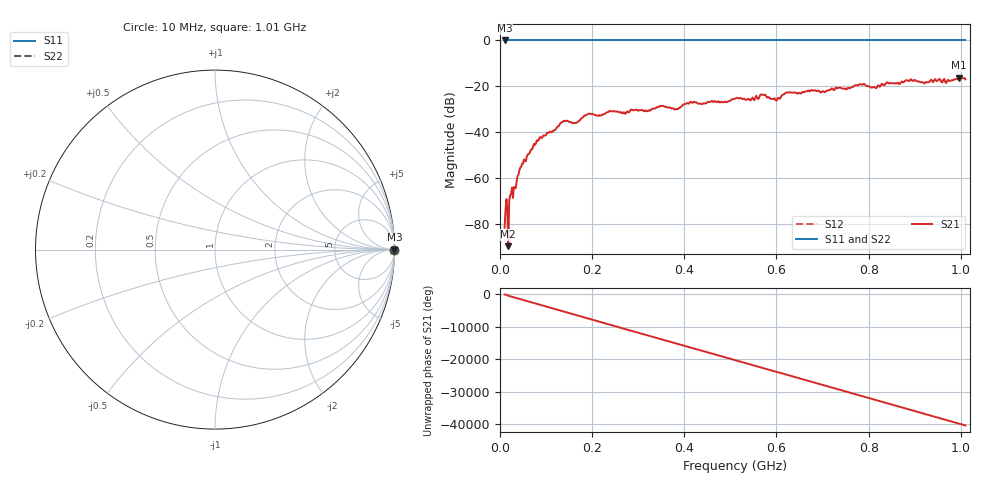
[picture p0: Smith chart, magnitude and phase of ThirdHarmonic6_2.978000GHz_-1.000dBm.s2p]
! 8/17/2025 8:27:10 AM
! C:\ANRITSUVNA\TEMP\TEMP.S2P
! CHANNEL.1
! TR.MEASUREMENT
! RAW.DATA
! RF.CORRECTION.OFF
! AVERAGING.OFF
! IF.BANDWIDTH: 5KHZ
! SWEEPTYPE:  FREQ.SWEEP(Linear)
! Reference Plane Port Info
! PORT:  PORT1  PORT2
! DISTANCE:  0  m  0  m
! TIME:  0  s  0  s
! PHASE.OFFSET:  0  deg.  0  deg.
! LOSS:  0  dB  0  dB
! REF.LOSS:  0  dB  0  dB
! REF.FREQ:  0  Hz  0  Hz
! Power Info
! POWER:  -20  dBm  -20  dBm
! EFF.POWER:  -20  dBm  -20  dBm
! SOURCE.ATTEN:  0  dB  0  dB
! TEST.ATTEN:  0  dB  0  dB
# GHZ S RI R 50.0
! FREQ.GHZ  S11RE  S11IM  S21RE  S21IM  S12RE  S12IM  S22RE  S22IM
!; PortSelection: Port_12
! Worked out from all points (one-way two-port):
!   501 points, 10 MHz to 1.01 GHz, reference 50 ohm
!   highest |S21| = -16.23 dB at 996 MHz (marker M1); lowest = -89.7 dB at 18 MHz (marker M2)
!   lowest |S11| = 0.0 dB at 10 MHz (marker M3)
!   |S11| at or under -10 dB: nowhere
!   |S22| runs from 0.0 to 0.0 dB; largest |S21 - S12| = 1.1
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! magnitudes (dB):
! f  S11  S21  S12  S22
! 10 MHz  0.0  -81.7  0.0  0.0
! 18 MHz  0.0  -89.7  0.0  0.0
! 48 MHz  0.0  -53.7  0.0  0.0
! 84 MHz  0.0  -43.5  0.0  0.0
! 136 MHz  0.0  -35.6  0.0  0.0
! 162 MHz  0.0  -36.1  0.0  0.0
! 178 MHz  0.0  -33.8  0.0  0.0
! 192 MHz  0.0  -32.1  0.0  0.0
! 344 MHz  0.0  -29.1  0.0  0.0
! 382 MHz  0.0  -30.0  0.0  0.0
! 416 MHz  0.0  -27.1  0.0  0.0
! 510 MHz  0.0  -25.4  0.0  0.0
! 548 MHz  0.0  -24.9  0.0  0.0
! 570 MHz  0.0  -23.7  0.0  0.0
! 598 MHz  0.0  -26.0  0.0  0.0
! 624 MHz  0.0  -22.7  0.0  0.0
! 678 MHz  0.0  -21.8  0.0  0.0
! 786 MHz  0.0  -19.3  0.0  0.0
! 814 MHz  0.0  -20.5  0.0  0.0
! 844 MHz  0.0  -18.7  0.0  0.0
! 996 MHz  0.0  -16.2  0.0  0.0
! 1.01 GHz  0.0  -16.9  0.0  0.0
